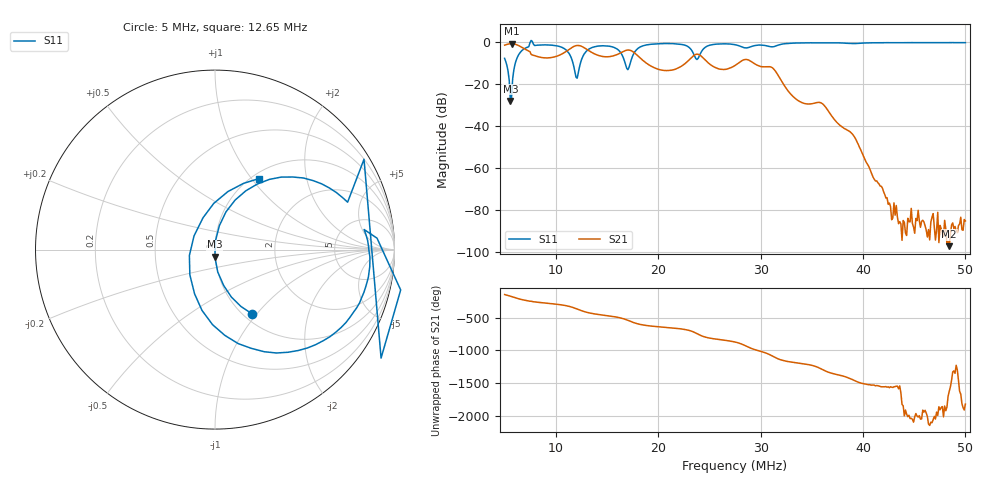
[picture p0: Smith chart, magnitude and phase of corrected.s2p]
! S11/S21 only; reverse parameters are placeholders. Device calibration unverified.
! [Saver CAL applied] C:\Users\aknya\MyProjects\rf-simulator\calibration2.cal | Ideal standards assumed | Input: NanoVNA F V2 profile | COM3 | 2026-09-08T12:27:47.7394112-04:00 | device calibration unverified
# HZ S RI R 50
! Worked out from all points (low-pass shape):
!   401 points, 5 MHz to 50 MHz, reference 50 ohm
!   highest |S21| = -0.65 dB at 5.675 MHz (marker M1); lowest = -97.1 dB at 48.42 MHz (marker M2)
!   |S21| within 3 dB of the highest: start of sweep to 7.139 MHz; 11.23 MHz to 13.11 MHz (1.88 MHz wide, 15.4 % of centre)
!   lowest |S11| = -28.0 dB at 5.562 MHz (marker M3), VSWR 1.08, Z = 49.8 - j3.96 ohm
!   |S11| at or under -10 dB: 5.162 MHz to 6.043 MHz (881.2 kHz wide, 15.7 % of centre); 11.68 MHz to 12.4 MHz (724.5 kHz wide, 6.02 % of centre); 16.77 MHz to 17.26 MHz (491.6 kHz wide, 2.89 % of centre)
!   S12 and S22 are empty: the file has one direction only
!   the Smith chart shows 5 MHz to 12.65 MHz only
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5000000  0.2075 -0.3586  -0.712 -0.4702  0 0  0 0
5562500  -0.000893 -0.0398  -0.9165 -0.1281  0 0  0 0
5675000  0.00271 0.0488  -0.9277 -0.0375  0 0  0 0
6575000  0.4328 0.4044  -0.6028 0.5028  0 0  0 0
7700000  1.034 -0.2249  -0.1455 0.4764  0 0  0 0
1.09625e7  0.342 -0.576  0.4235 0.4165  0 0  0 0
1.1975e7  -0.1427 -0.0328  0.8308 -0.0209  0 0  0 0
1.25375e7  0.1589 0.3691  0.6537 -0.455  0 0  0 0
1.4675e7  0.8083 -0.1607  -0.096 -0.4448  0 0  0 0
1.61375e7  0.3327 -0.5535  -0.3884 -0.3602  0 0  0 0
1.6925e7  -0.2124 -0.1122  -0.6436 -0.0759  0 0  0 0
1.7825e7  0.3324 0.5471  -0.3612 0.3793  0 0  0 0
2.0075e7  0.9241 0.0109  0.0376 0.2214  0 0  0 0
2.3675e7  0.3545 -0.2027  0.497 -0.1301  0 0  0 0
2.75e7  0.7448 -0.46  -0.2469 -0.1308  0 0  0 0
2.9075e7  0.7105 -0.3428  -0.1282 0.3246  0 0  0 0
3.09875e7  0.6571 -0.425  0.2562 0.0313  0 0  0 0
3.50375e7  0.6985 -0.6693  -0.0296 -0.0175  0 0  0 0
3.8975e7  0.5333 -0.7639  0.00642 -0.000793  0 0  0 0
4.2575e7  0.4421 -0.8707  -9.42e-05 -0.000114  0 0  0 0
4.8425e7  0.2194 -0.9578  -1.39e-05 8.01e-07  0 0  0 0
5e7  0.1597 -0.9659  5.2e-05 -1.92e-05  0 0  0 0
